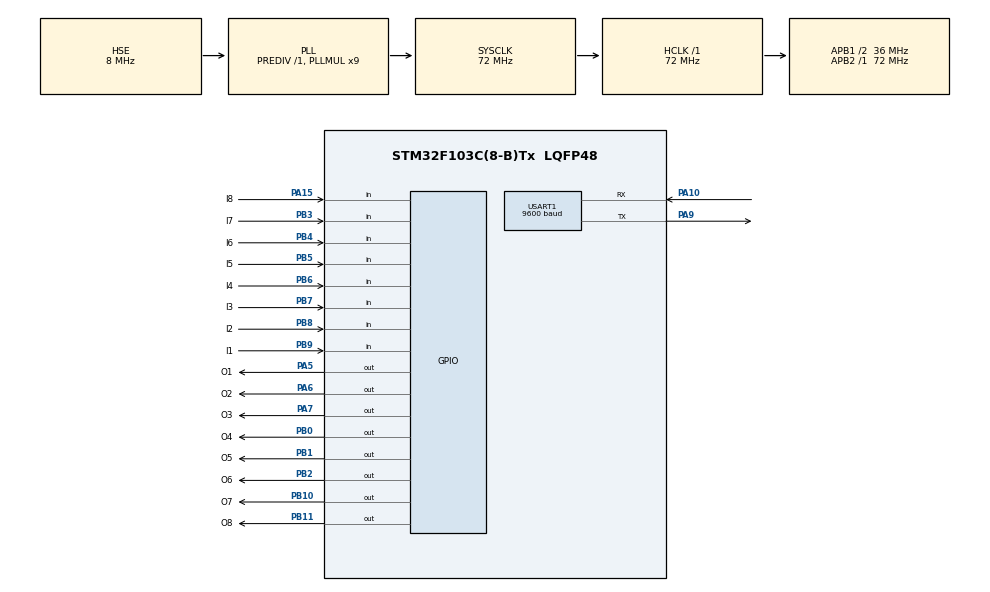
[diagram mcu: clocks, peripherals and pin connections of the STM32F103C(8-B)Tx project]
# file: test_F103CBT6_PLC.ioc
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Mcu.Family=STM32F1
Mcu.Name=STM32F103C(8-B)Tx
Mcu.Package=LQFP48
NVIC.PriorityGroup=NVIC_PRIORITYGROUP_4
NVIC.USART1_IRQn=true\:0\:0\:false\:false\:true\:true\:true\:true
PA10.Mode=Asynchronous
PA10.Signal=USART1_RX
PA13.Mode=Serial_Wire
PA13.Signal=SYS_JTMS-SWDIO
PA14.Mode=Serial_Wire
PA14.Signal=SYS_JTCK-SWCLK
PA15.GPIO_Label=I8
PA15.Signal=GPIO_Input
PA5.GPIO_Label=O1
PA5.Signal=GPIO_Output
PA6.GPIO_Label=O2
PA6.Signal=GPIO_Output
PA7.GPIO_Label=O3
PA7.Signal=GPIO_Output
PA9.Mode=Asynchronous
PA9.Signal=USART1_TX
PB0.GPIO_Label=O4
PB0.Signal=GPIO_Output
PB1.GPIO_Label=O5
PB1.Signal=GPIO_Output
PB10.GPIO_Label=O7
PB10.Signal=GPIO_Output
PB11.GPIO_Label=O8
PB11.Signal=GPIO_Output
PB2.GPIO_Label=O6
PB2.Signal=GPIO_Output
PB3.GPIO_Label=I7
PB3.Signal=GPIO_Input
PB4.GPIO_Label=I6
PB4.Signal=GPIO_Input
PB5.GPIO_Label=I5
PB5.Signal=GPIO_Input
PB6.GPIO_Label=I4
PB6.Signal=GPIO_Input
PB7.GPIO_Label=I3
PB7.Signal=GPIO_Input
PB8.GPIO_Label=I2
PB8.Signal=GPIO_Input
PB9.GPIO_Label=I1
PB9.Signal=GPIO_Input
PD0-OSC_IN.Mode=HSE-External-Oscillator
PD0-OSC_IN.Signal=RCC_OSC_IN
PD1-OSC_OUT.Mode=HSE-External-Oscillator
PD1-OSC_OUT.Signal=RCC_OSC_OUT
ProjectManager.HeapSize=0x200
ProjectManager.StackSize=0x400
ProjectManager.TargetToolchain=STM32CubeIDE
RCC.AHBFreq_Value=72000000
RCC.APB1CLKDivider=RCC_HCLK_DIV2
RCC.APB1Freq_Value=36000000
RCC.APB1TimFreq_Value=72000000
RCC.APB2Freq_Value=72000000
RCC.APB2TimFreq_Value=72000000
RCC.HCLKFreq_Value=72000000
RCC.PLLMUL=RCC_PLL_MUL9
RCC.PLLSourceVirtual=RCC_PLLSOURCE_HSE
RCC.SYSCLKFreq_VALUE=72000000
RCC.SYSCLKSource=RCC_SYSCLKSOURCE_PLLCLK
RCC.USBFreq_Value=72000000
USART1.BaudRate=9600
USART1.VirtualMode=VM_ASYNC
board=custom

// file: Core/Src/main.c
/* USER CODE BEGIN Header */
/**
  ******************************************************************************
  * @file           : main.c
  * @brief          : Main program body
  ******************************************************************************
  */
/* USER CODE END Header */
#include "main.h"
#include "usart.h"
#include "gpio.h"

/* USER CODE BEGIN Includes */
#include "modbus_rtu.h"

/* USER CODE END Includes */

/* USER CODE BEGIN PV */
uint32_t last_modbus_poll = 0;
uint8_t current_slave_address = 1; // Default PLC slave address for Modbus RTU

// Test variables for Virtual I/O via Modbus
uint8_t test_state = 0;
uint16_t virtual_inputs[2] = {0}; // 32 bits max (for 18 inputs)
uint16_t virtual_outputs[2] = {0}; // 32 bits max (for 18 outputs)
/* USER CODE END PV */

void SystemClock_Config(void);

int main(void)
{

  /* MCU Configuration--------------------------------------------------------*/

  /* Reset of all peripherals, Initializes the Flash interface and the Systick. */
  HAL_Init();

  /* Configure the system clock */
  SystemClock_Config();

  /* Initialize all configured peripherals */
  MX_GPIO_Init();
  MX_USART1_UART_Init();
  /* USER CODE BEGIN 2 */
  Modbus_Init();
  /* USER CODE END 2 */

  /* Infinite loop */
  while (1)
  {

    /* USER CODE BEGIN 3 */

    // Hàm này phải được gọi liên tục để kiểm tra xem đã nhận xong 1 frame Modbus chưa
    // Nếu nhận xong (timeout > 5ms), nó sẽ tự động phân tích dữ liệu và cập nhật vào plc_registers
    Modbus_Process();

    // GP.OUTPUT sends 6 raw bytes from D4650-D4652.
    if (modbus_rx_ready)
    {
        virtual_outputs[0] = plc_registers[0];
        virtual_outputs[1] = plc_registers[1];

        HAL_GPIO_WritePin(O1_GPIO_Port, O1_Pin, (virtual_outputs[0] & (1 << 0)) ? GPIO_PIN_SET : GPIO_PIN_RESET);
        HAL_GPIO_WritePin(O2_GPIO_Port, O2_Pin, (virtual_outputs[0] & (1 << 1)) ? GPIO_PIN_SET : GPIO_PIN_RESET);
        HAL_GPIO_WritePin(O3_GPIO_Port, O3_Pin, (virtual_outputs[0] & (1 << 2)) ? GPIO_PIN_SET : GPIO_PIN_RESET);
        HAL_GPIO_WritePin(O4_GPIO_Port, O4_Pin, (virtual_outputs[0] & (1 << 3)) ? GPIO_PIN_SET : GPIO_PIN_RESET);
        HAL_GPIO_WritePin(O5_GPIO_Port, O5_Pin, (virtual_outputs[0] & (1 << 4)) ? GPIO_PIN_SET : GPIO_PIN_RESET);
        HAL_GPIO_WritePin(O6_GPIO_Port, O6_Pin, (virtual_outputs[0] & (1 << 5)) ? GPIO_PIN_SET : GPIO_PIN_RESET);
        HAL_GPIO_WritePin(O7_GPIO_Port, O7_Pin, (virtual_outputs[0] & (1 << 6)) ? GPIO_PIN_SET : GPIO_PIN_RESET);
        HAL_GPIO_WritePin(O8_GPIO_Port, O8_Pin, (virtual_outputs[0] & (1 << 7)) ? GPIO_PIN_SET : GPIO_PIN_RESET);

        modbus_rx_ready = 0;
    }

    // Khối lệnh Test Sequence (Chạy luân phiên mỗi 500ms)
    // Dùng để tạo ra chu kỳ Test: Ép Input ảo -> Đọc Output ảo
    if (HAL_GetTick() - last_modbus_poll >= 600)
    {
        last_modbus_poll = HAL_GetTick();

        if (test_state == 0)
        {
            // [TRẠNG THÁI 0: GHI TÍN HIỆU INPUT ẢO XUỐNG PLC]
            // Đọc trạng thái 8 nút bấm vật lý trên bo STM32 và ghép vào virtual_inputs[0]
            virtual_inputs[0] = 0; // Xóa dữ liệu cũ
            if (HAL_GPIO_ReadPin(I1_GPIO_Port, I1_Pin) == GPIO_PIN_SET) virtual_inputs[0] |= (1 << 0);
            if (HAL_GPIO_ReadPin(I2_GPIO_Port, I2_Pin) == GPIO_PIN_SET) virtual_inputs[0] |= (1 << 1);
            if (HAL_GPIO_ReadPin(I3_GPIO_Port, I3_Pin) == GPIO_PIN_SET) virtual_inputs[0] |= (1 << 2);
            if (HAL_GPIO_ReadPin(I4_GPIO_Port, I4_Pin) == GPIO_PIN_SET) virtual_inputs[0] |= (1 << 3);
            if (HAL_GPIO_ReadPin(I5_GPIO_Port, I5_Pin) == GPIO_PIN_SET) virtual_inputs[0] |= (1 << 4);
            if (HAL_GPIO_ReadPin(I6_GPIO_Port, I6_Pin) == GPIO_PIN_SET) virtual_inputs[0] |= (1 << 5);
            if (HAL_GPIO_ReadPin(I7_GPIO_Port, I7_Pin) == GPIO_PIN_SET) virtual_inputs[0] |= (1 << 6);
            if (HAL_GPIO_ReadPin(I8_GPIO_Port, I8_Pin) == GPIO_PIN_SET) virtual_inputs[0] |= (1 << 7);

            // Đặt các bit ảo khác nếu cần (Ví dụ PLC có 18 Input, ta chỉ có 8 nút thật)
            virtual_inputs[1] = 0x0000;

            // Gửi lệnh Modbus (Mã 0x10) ghi 2 thanh ghi (32 bit) vào địa chỉ D0 của PLC
            RawSerial_SendInputs(virtual_inputs, 2);

            // Chuyển sang trạng thái đọc ở chu kỳ 500ms tiếp theo
            test_state = 0;
        }
        else if (test_state == 1)
        {
            // [TRẠNG THÁI 1: ĐỌC KẾT QUẢ OUTPUT TỪ PLC VỀ KIỂM TRA]
            // Gửi lệnh Modbus (Mã 0x03) yêu cầu PLC trả về giá trị của 2 thanh ghi bắt đầu từ D10
            // D10 và D11 trên PLC sẽ do chương trình Ladder ghi trạng thái của 18 tín hiệu Output vào
            Modbus_ReadHoldingRegisters(current_slave_address, 0x1234, 2);

            // Dữ liệu PLC trả về sẽ được Modbus_Process() ngầm xử lý và bật cờ modbus_rx_ready = 1
            if (modbus_rx_ready)
            {
                // Lấy kết quả lưu vào mảng của STM32
                virtual_outputs[0] = plc_registers[0]; // Output 1-16 (từ D10)
                virtual_outputs[1] = plc_registers[1]; // Output 17-18 (từ D11)

                // Cập nhật trạng thái 8 LED/Relay vật lý trên STM32 tương ứng với 8 Output ảo đầu tiên
                HAL_GPIO_WritePin(O1_GPIO_Port, O1_Pin, (virtual_outputs[0] & (1 << 0)) ? GPIO_PIN_SET : GPIO_PIN_RESET);
                HAL_GPIO_WritePin(O2_GPIO_Port, O2_Pin, (virtual_outputs[0] & (1 << 1)) ? GPIO_PIN_SET : GPIO_PIN_RESET);
                HAL_GPIO_WritePin(O3_GPIO_Port, O3_Pin, (virtual_outputs[0] & (1 << 2)) ? GPIO_PIN_SET : GPIO_PIN_RESET);
                HAL_GPIO_WritePin(O4_GPIO_Port, O4_Pin, (virtual_outputs[0] & (1 << 3)) ? GPIO_PIN_SET : GPIO_PIN_RESET);
                HAL_GPIO_WritePin(O5_GPIO_Port, O5_Pin, (virtual_outputs[0] & (1 << 4)) ? GPIO_PIN_SET : GPIO_PIN_RESET);
                HAL_GPIO_WritePin(O6_GPIO_Port, O6_Pin, (virtual_outputs[0] & (1 << 5)) ? GPIO_PIN_SET : GPIO_PIN_RESET);
                HAL_GPIO_WritePin(O7_GPIO_Port, O7_Pin, (virtual_outputs[0] & (1 << 6)) ? GPIO_PIN_SET : GPIO_PIN_RESET);
                HAL_GPIO_WritePin(O8_GPIO_Port, O8_Pin, (virtual_outputs[0] & (1 << 7)) ? GPIO_PIN_SET : GPIO_PIN_RESET);

                modbus_rx_ready = 0; // Xóa cờ báo hiệu đã đọc xong
            }

            // Quay lại trạng thái 0 để thực hiện bài test (Input) tiếp theo
            test_state = 0;
        }
    }
  }
  /* USER CODE END 3 */
}

void SystemClock_Config(void)
{
  RCC_OscInitTypeDef RCC_OscInitStruct = {0};
  RCC_ClkInitTypeDef RCC_ClkInitStruct = {0};

  /** Initializes the RCC Oscillators according to the specified parameters
  * in the RCC_OscInitTypeDef structure.
  */
  RCC_OscInitStruct.OscillatorType = RCC_OSCILLATORTYPE_HSE;
  RCC_OscInitStruct.HSEState = RCC_HSE_ON;
  RCC_OscInitStruct.HSEPredivValue = RCC_HSE_PREDIV_DIV1;
  RCC_OscInitStruct.HSIState = RCC_HSI_ON;
  RCC_OscInitStruct.PLL.PLLState = RCC_PLL_ON;
  RCC_OscInitStruct.PLL.PLLSource = RCC_PLLSOURCE_HSE;
  RCC_OscInitStruct.PLL.PLLMUL = RCC_PLL_MUL9;
  if (HAL_RCC_OscConfig(&RCC_OscInitStruct) != HAL_OK)
  {
    Error_Handler();
  }

  /** Initializes the CPU, AHB and APB buses clocks
  */
  RCC_ClkInitStruct.ClockType = RCC_CLOCKTYPE_HCLK|RCC_CLOCKTYPE_SYSCLK
                              |RCC_CLOCKTYPE_PCLK1|RCC_CLOCKTYPE_PCLK2;
  RCC_ClkInitStruct.SYSCLKSource = RCC_SYSCLKSOURCE_PLLCLK;
  RCC_ClkInitStruct.AHBCLKDivider = RCC_SYSCLK_DIV1;
  RCC_ClkInitStruct.APB1CLKDivider = RCC_HCLK_DIV2;
  RCC_ClkInitStruct.APB2CLKDivider = RCC_HCLK_DIV1;

  if (HAL_RCC_ClockConfig(&RCC_ClkInitStruct, FLASH_LATENCY_2) != HAL_OK)
  {
    Error_Handler();
  }
}

void Error_Handler(void)
{
  __disable_irq();
  while (1)
  {
  }
}
